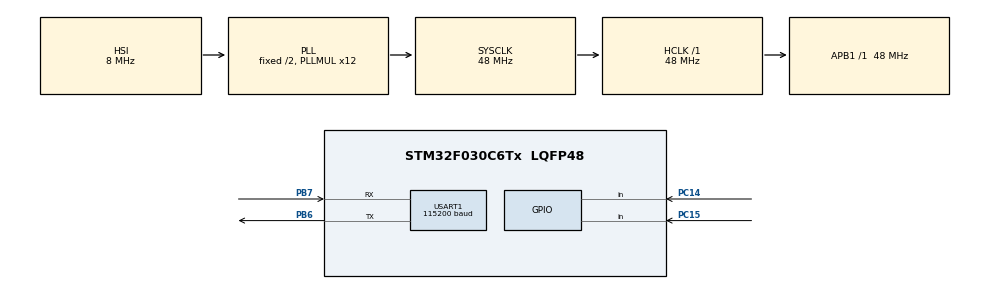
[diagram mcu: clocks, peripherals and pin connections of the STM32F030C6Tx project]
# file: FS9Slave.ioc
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Mcu.Family=STM32F0
Mcu.Name=STM32F030C6Tx
Mcu.Package=LQFP48
NVIC.USART1_IRQn=true\:0\:0\:false\:false\:true
PA13.Mode=Serial_Wire
PA13.Signal=SYS_SWDIO
PA14.Mode=Serial_Wire
PA14.Signal=SYS_SWCLK
PB6.Mode=Asynchronous
PB6.Signal=USART1_TX
PB7.Mode=Asynchronous
PB7.Signal=USART1_RX
PC14-OSC32_IN.Signal=GPIO_Input
PC15-OSC32_OUT.Signal=GPIO_Input
ProjectManager.HeapSize=0x200
ProjectManager.StackSize=0x400
ProjectManager.TargetToolchain=MDK-ARM V5
RCC.AHBFreq_Value=48000000
RCC.APB1Freq_Value=48000000
RCC.APB1TimFreq_Value=48000000
RCC.HCLKFreq_Value=48000000
RCC.PLLMUL=RCC_PLL_MUL12
RCC.SYSCLKFreq_VALUE=48000000
RCC.SYSCLKSource=RCC_SYSCLKSOURCE_PLLCLK
USART1.BaudRate=115200
USART1.VirtualMode-Asynchronous=VM_ASYNC
USART1.WordLength=WORDLENGTH_9B
board=FS9Slave

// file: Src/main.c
/**
  ******************************************************************************
  * File Name          : main.c
  * Description        : Main program body
  ******************************************************************************
  ** This notice applies to any and all portions of this file
  * that are not between comment pairs USER CODE BEGIN and
  * USER CODE END. Other portions of this file, whether
  * inserted by the user or by software development tools
  * are owned by their respective copyright owners.
  *
  * COPYRIGHT(c) 2017 STMicroelectronics
  *
  * Redistribution and use in source and binary forms, with or without modification,
  * are permitted provided that the following conditions are met:
  *   1. Redistributions of source code must retain the above copyright notice,
  *      this list of conditions and the following disclaimer.
  *   2. Redistributions in binary form must reproduce the above copyright notice,
  *      this list of conditions and the following disclaimer in the documentation
  *      and/or other materials provided with the distribution.
  *   3. Neither the name of STMicroelectronics nor the names of its contributors
  *      may be used to endorse or promote products derived from this software
  *      without specific prior written permission.
  *
  * THIS SOFTWARE IS PROVIDED BY THE COPYRIGHT HOLDERS AND CONTRIBUTORS "AS IS"
  * AND ANY EXPRESS OR IMPLIED WARRANTIES, INCLUDING, BUT NOT LIMITED TO, THE
  * IMPLIED WARRANTIES OF MERCHANTABILITY AND FITNESS FOR A PARTICULAR PURPOSE ARE
  * DISCLAIMED. IN NO EVENT SHALL THE COPYRIGHT HOLDER OR CONTRIBUTORS BE LIABLE
  * FOR ANY DIRECT, INDIRECT, INCIDENTAL, SPECIAL, EXEMPLARY, OR CONSEQUENTIAL
  * DAMAGES (INCLUDING, BUT NOT LIMITED TO, PROCUREMENT OF SUBSTITUTE GOODS OR
  * SERVICES; LOSS OF USE, DATA, OR PROFITS; OR BUSINESS INTERRUPTION) HOWEVER
  * CAUSED AND ON ANY THEORY OF LIABILITY, WHETHER IN CONTRACT, STRICT LIABILITY,
  * OR TORT (INCLUDING NEGLIGENCE OR OTHERWISE) ARISING IN ANY WAY OUT OF THE USE
  * OF THIS SOFTWARE, EVEN IF ADVISED OF THE POSSIBILITY OF SUCH DAMAGE.
  *
  ******************************************************************************
  */
#include "main.h"
#include "stm32f0xx_hal.h"

UART_HandleTypeDef huart1;

/* USER CODE BEGIN PV */
/* Private variables ---------------------------------------------------------*/
io_TypeDef io_set[DINPUT_MAX_SIZE];
/* USER CODE END PV */

void SystemClock_Config(void);
static void MX_USART1_UART_Init(void);

/* USER CODE BEGIN PFP */
/* Private function prototypes -----------------------------------------------*/
/* USER CODE END PFP */

/* USER CODE BEGIN 0 */
//---------------------------------------------------------------------------
void IODevice_Init(uint8_t addr, PORT_Input_Type* in, PORT_Output_Type* out);
//---------------------------------------------------------
uint16_t UpdateInputFilterSettings(PORT_Input_Type *input);
/* USER CODE END 0 */

int main(void)
{

    /* MCU Configuration----------------------------------------------------------*/

    /* Reset of all peripherals, Initializes the Flash interface and the Systick. */
    HAL_Init();

    /* Configure the system clock */
    SystemClock_Config();

    /* Initialize all configured peripherals */
    MX_USART1_UART_Init();

    /* USER CODE BEGIN 2 */

    // Create device
    DEV_Create(GPIOC, GPIO_PIN_14 | GPIO_PIN_15);
    // Get address device
    uint8_t addr = DEV_Address();

    // Protocol initialize
    FS9Slave_Init(addr);

    // Declaration struct inputs and outputs
    PORT_Input_Type  input; // the input channels
    PORT_Output_Type output; // the output channels

    EVENT_Init();
    IODevice_Init(addr, &input, &output);
    DEV_Init(&input, &output);

    DEV_PWROKInit();
    AIN_Init(addr);

    // создание списка входов с их настройками для использования в фильтрации
    uint16_t sample_count = UpdateInputFilterSettings(&input); // чтение настроек фильтра входов
    IO_SetSequenceCount(sample_count*2); // установка значения фильтрации входов до входа в рабочий режим
    uint16_t result = 0; // результат сканирования входов

    if(addr != DEVICE_MIK_01) // Если устройство не МИК-01
    {
        // пока не получили валидный результат состояния входов не входим в рабочий режим
        // результат получает фильтрацией входов по самому большому значению фильрации одного из входов
        while(!IO_SampleIsEnd())
        {
            if(IO_SampleIsReady()) // Ожидаение готовности резултьтата сканирования выборки
            {
                result = InputFilter(IO_SampleCopy(), io_set, input.size);
                IO_ReadyReset(); // сброс флага блокировки набора данных временно
            }
        }

        DEV_InputBufferUpdate(result, true); // принудительное обновление состояний входов (отправка сигнала INT)
    }

    while (1)
    {
        if(FS9Slave_IsReady())
        {
            FS9Buffer_t source = { 0 };
            FS9Buffer_t dest   = { 0 };

            if(FS9Slave_Read(&source))
            {
                if(DEV_Request(&source, &dest) && dest.size > 0) // request is successful and destination packet size isn't empty
                {
                    // send answer
                    FS9Slave_Write(&dest);
                }
            }
        }

        if(DEV_InputFilterIsChanged()) // Если настройки фильтра входов были изменены, то обновляем их
        {
            UpdateInputFilterSettings(&input);
        }

        // Проверка готовности сэмпла состояний входов
        if(IO_SampleIsReady())
        {
            result = InputFilter(IO_SampleCopy(), io_set, input.size);
            IO_ReadyReset(); // сброс флага блокировки набора данных временно
            DEV_InputBufferUpdate(result, false); // обновляем буфер состояний входов
        }

        // обработка событий
        EVENT_Execute();
        // конец обработки события
    }
}

/** System Clock Configuration
*/
void SystemClock_Config(void)
{

  RCC_OscInitTypeDef RCC_OscInitStruct;
  RCC_ClkInitTypeDef RCC_ClkInitStruct;
  RCC_PeriphCLKInitTypeDef PeriphClkInit;

    /**Initializes the CPU, AHB and APB busses clocks
    */
  RCC_OscInitStruct.OscillatorType = RCC_OSCILLATORTYPE_HSI;
  RCC_OscInitStruct.HSIState = RCC_HSI_ON;
  RCC_OscInitStruct.HSICalibrationValue = 16;
  RCC_OscInitStruct.PLL.PLLState = RCC_PLL_ON;
  RCC_OscInitStruct.PLL.PLLSource = RCC_PLLSOURCE_HSI;
  RCC_OscInitStruct.PLL.PLLMUL = RCC_PLL_MUL12;
  RCC_OscInitStruct.PLL.PREDIV = RCC_PREDIV_DIV1;
  if (HAL_RCC_OscConfig(&RCC_OscInitStruct) != HAL_OK)
  {
    _Error_Handler(__FILE__, __LINE__);
  }

    /**Initializes the CPU, AHB and APB busses clocks
    */
  RCC_ClkInitStruct.ClockType = RCC_CLOCKTYPE_HCLK|RCC_CLOCKTYPE_SYSCLK
                              |RCC_CLOCKTYPE_PCLK1;
  RCC_ClkInitStruct.SYSCLKSource = RCC_SYSCLKSOURCE_PLLCLK;
  RCC_ClkInitStruct.AHBCLKDivider = RCC_SYSCLK_DIV1;
  RCC_ClkInitStruct.APB1CLKDivider = RCC_HCLK_DIV1;

  if (HAL_RCC_ClockConfig(&RCC_ClkInitStruct, FLASH_LATENCY_1) != HAL_OK)
  {
    _Error_Handler(__FILE__, __LINE__);
  }

  PeriphClkInit.PeriphClockSelection = RCC_PERIPHCLK_USART1;
  PeriphClkInit.Usart1ClockSelection = RCC_USART1CLKSOURCE_PCLK1;
  if (HAL_RCCEx_PeriphCLKConfig(&PeriphClkInit) != HAL_OK)
  {
    _Error_Handler(__FILE__, __LINE__);
  }

    /**Configure the Systick interrupt time
    */
  HAL_SYSTICK_Config(HAL_RCC_GetHCLKFreq()/1000);

    /**Configure the Systick
    */
  HAL_SYSTICK_CLKSourceConfig(SYSTICK_CLKSOURCE_HCLK);

  /* SysTick_IRQn interrupt configuration */
  HAL_NVIC_SetPriority(SysTick_IRQn, 0, 0);
}

/* USART1 init function */
static void MX_USART1_UART_Init(void)
{
    RCC->AHBENR |= RCC_AHBENR_GPIOBEN;

    huart1.Instance = USART1;
    huart1.Init.BaudRate = 115200;
    huart1.Init.WordLength = UART_WORDLENGTH_9B;
    huart1.Init.StopBits = UART_STOPBITS_1;
    huart1.Init.Parity = UART_PARITY_NONE;
    huart1.Init.Mode = UART_MODE_RX;
    huart1.Init.HwFlowCtl = UART_HWCONTROL_NONE;
    huart1.Init.OverSampling = UART_OVERSAMPLING_16;
    huart1.Init.OneBitSampling = UART_ONE_BIT_SAMPLE_DISABLE;
    huart1.AdvancedInit.AdvFeatureInit = UART_ADVFEATURE_NO_INIT;
    if (HAL_UART_Init(&huart1) != HAL_OK)
    {
        _Error_Handler(__FILE__, __LINE__);
    }

    USART1->CR1 |= USART_CR1_RE | USART_CR1_RXNEIE; // read enable
    USART1->CR1 &= ~(USART_CR1_TE | USART_CR1_TXEIE); // send disable
}

/* USER CODE BEGIN 4 */
void IODevice_Init(uint8_t addr, PORT_Input_Type* in, PORT_Output_Type* out)
{
    in->list[0].pin.gpio = GPIOA;
    in->list[1].pin.gpio = GPIOA;
    in->list[2].pin.gpio = GPIOA;
    in->list[3].pin.gpio = GPIOA;
    in->list[4].pin.gpio = GPIOA;
    in->list[5].pin.gpio = GPIOA;
    in->list[6].pin.gpio = GPIOA;
    in->list[7].pin.gpio = GPIOA;
    in->list[8].pin.gpio = GPIOA;
    in->list[9].pin.gpio = GPIOA;

    in->list[0].pin.io = GPIO_PIN_0; // input channel 1
    in->list[1].pin.io = GPIO_PIN_1; // input channel 2
    in->list[2].pin.io = GPIO_PIN_2; // input channel 3
    in->list[3].pin.io = GPIO_PIN_3; // input channel 4
    in->list[4].pin.io = GPIO_PIN_4; // input channel 5
    in->list[5].pin.io = GPIO_PIN_5; // input channel 6
    in->list[6].pin.io = GPIO_PIN_6; // input channel 7
    in->list[7].pin.io = GPIO_PIN_7; // input channel 8
    in->list[8].pin.io = GPIO_PIN_8; // input channel 9
    in->list[9].pin.io = GPIO_PIN_9; // input channel 10

    // настройка искробезопасного режима по умолчанию - не используется
    in->list[0].spark_security = SPARK_SECURITY_MODE_NONE;
    in->list[1].spark_security = SPARK_SECURITY_MODE_NONE;
    in->list[2].spark_security = SPARK_SECURITY_MODE_NONE;
    in->list[3].spark_security = SPARK_SECURITY_MODE_NONE;
    in->list[4].spark_security = SPARK_SECURITY_MODE_NONE;
    in->list[5].spark_security = SPARK_SECURITY_MODE_NONE;
    in->list[6].spark_security = SPARK_SECURITY_MODE_NONE;
    in->list[7].spark_security = SPARK_SECURITY_MODE_NONE;
    in->list[8].spark_security = SPARK_SECURITY_MODE_NONE;
    in->list[9].spark_security = SPARK_SECURITY_MODE_NONE;

    if(addr == DEVICE_MDVV_01) // МДВВ-01
    {
        in->list[10].pin.gpio = GPIOA;
        in->list[11].pin.gpio = GPIOA;

        in->list[10].pin.io = GPIO_PIN_10; // input channel 11
        in->list[11].pin.io = GPIO_PIN_11; // input channel 12

        // настройка первых четырех входов МДВВ-01 как искробезопасные в режиме 1 (default settings)
        in->list[0].spark_security  = SPARK_SECURITY_MODE_1;
        in->list[1].spark_security  = SPARK_SECURITY_MODE_1;
        in->list[2].spark_security  = SPARK_SECURITY_MODE_1;
        in->list[3].spark_security  = SPARK_SECURITY_MODE_1;
        in->list[10].spark_security = SPARK_SECURITY_MODE_NONE;
        in->list[11].spark_security = SPARK_SECURITY_MODE_NONE;

        out->list[0].pin.gpio = GPIOB;
        out->list[1].pin.gpio = GPIOB;
        out->list[2].pin.gpio = GPIOB;
        out->list[3].pin.gpio = GPIOB;
        out->list[4].pin.gpio = GPIOB;
        out->list[5].pin.gpio = GPIOB;

        out->list[0].pin.io = GPIO_PIN_10; // output chanel 1
        out->list[1].pin.io = GPIO_PIN_15; // output chanel 2
        out->list[2].pin.io = GPIO_PIN_14; // output chanel 3
        out->list[3].pin.io = GPIO_PIN_13; // output chanel 4
        out->list[4].pin.io = GPIO_PIN_12; // output chanel 5
        out->list[5].pin.io = GPIO_PIN_11; // output chanel 6

        out->list[0].level = true;
        out->list[1].level = true;
        out->list[2].level = true;
        out->list[3].level = true;
        out->list[4].level = true;
        out->list[5].level = true;

        in->size  = 12;
        out->size = 6;
    }
    else if(addr == DEVICE_MDVV_02) // МДВВ-02
    {
        out->list[0].pin.gpio = GPIOB;
        out->list[1].pin.gpio = GPIOB;
        out->list[2].pin.gpio = GPIOB;
        out->list[3].pin.gpio = GPIOB;
        out->list[4].pin.gpio = GPIOB;
        out->list[5].pin.gpio = GPIOB;
        out->list[6].pin.gpio = GPIOB;

        out->list[0].pin.io = GPIO_PIN_11; // output chanel 1
        out->list[1].pin.io = GPIO_PIN_12; // output chanel 2
        out->list[2].pin.io = GPIO_PIN_13; // output chanel 3
        out->list[3].pin.io = GPIO_PIN_14; // output chanel 4
        out->list[4].pin.io = GPIO_PIN_15; // output chanel 5
        out->list[5].pin.io = GPIO_PIN_10; // output chanel 6
        out->list[6].pin.io = GPIO_PIN_2; // output chanel 7

        out->list[0].level = true;
        out->list[1].level = true;
        out->list[2].level = true;
        out->list[3].level = true;
        out->list[4].level = true;
        out->list[5].level = true;
        out->list[6].level = true;

        in->size  = 10;
        out->size = 7;
    }
    else if(addr == DEVICE_MIK_01) // МИК-01V1
    {
        in->list[10].pin.gpio = GPIOA;
        in->list[11].pin.gpio = GPIOA;

        // режим искробезопасных цепей для входов 11 и 12 (не используются)
        in->list[10].spark_security = SPARK_SECURITY_MODE_NONE;
        in->list[11].spark_security = SPARK_SECURITY_MODE_NONE;

        // замена местами клавиш (попутано на блоке)
        io_t pin;

        // меняем местами клавишу 1 с клавишей 7
        pin = in->list[0].pin;
        in->list[0].pin = in->list[6].pin;
        in->list[6].pin = pin;

        // меняем местами клавишу 2 с клавишей 8
        pin = in->list[1].pin;
        in->list[1].pin = in->list[7].pin;
        in->list[7].pin = pin;

        // меняем местами клавишу 3 с клавишей 9
        pin = in->list[2].pin;
        in->list[2].pin = in->list[8].pin;
        in->list[8].pin = pin;

        // конец замены клавиш

        in->list[10].pin.io = GPIO_PIN_10; // input channel 11 (scan1)
        in->list[11].pin.io = GPIO_PIN_11; // input channel 12 (scan2)

        out->list[0].pin.gpio  = GPIOB;
        out->list[1].pin.gpio  = GPIOB;
        out->list[2].pin.gpio  = GPIOB;
        out->list[3].pin.gpio  = GPIOB;
        out->list[4].pin.gpio  = GPIOB;
        out->list[5].pin.gpio  = GPIOB;
        out->list[6].pin.gpio  = GPIOB;
        out->list[7].pin.gpio  = GPIOB;
        out->list[8].pin.gpio  = GPIOB;
        out->list[9].pin.gpio  = GPIOF;
        out->list[10].pin.gpio = GPIOF;
        out->list[11].pin.gpio = GPIOB;

        out->list[0].pin.io  = GPIO_PIN_14;
        out->list[1].pin.io  = GPIO_PIN_13;
        out->list[2].pin.io  = GPIO_PIN_12;
        out->list[3].pin.io  = GPIO_PIN_11;
        out->list[4].pin.io  = GPIO_PIN_10;
        out->list[5].pin.io  = GPIO_PIN_2;
        out->list[6].pin.io  = GPIO_PIN_1;
        out->list[7].pin.io  = GPIO_PIN_0;
        out->list[8].pin.io  = GPIO_PIN_15;
        out->list[9].pin.io  = GPIO_PIN_6;
        out->list[10].pin.io = GPIO_PIN_7;
        out->list[11].pin.io = GPIO_PIN_4;

        out->list[0].level  = false;
        out->list[1].level  = false;
        out->list[2].level  = false;
        out->list[3].level  = false;
        out->list[4].level  = false;
        out->list[5].level  = false;
        out->list[6].level  = false;
        out->list[7].level  = false;
        out->list[8].level  = false;
        out->list[9].level  = false;
        out->list[10].level = false;
        out->list[11].level = false;

        in->size  = 12;
        out->size = 12;
    }
}
//--------------------------------------------------------
uint16_t UpdateInputFilterSettings(PORT_Input_Type *input)
{
    // Копирование настроек входов для их фильтрации из списка настроек входов
    // Возвращаем максимальное время фильтрации
    uint16_t sample_time = DINPUT_SAMPLE_PERIOD; // максимальное время фильтрации по всем входам

    for(uint8_t i = 0; i < input->size; i++)
    {
        io_set[i].type = input->list[i].mode;
        io_set[i].mode = input->list[i].spark_security;
        io_set[i].fltDuratiod = input->list[i].duration;

        if(io_set[i].fltDuratiod > sample_time)
            sample_time = io_set[i].fltDuratiod;
    }

    return sample_time;
}
/* USER CODE END 4 */

void _Error_Handler(char * file, int line)
{
  while(1)
  {
  }
}
